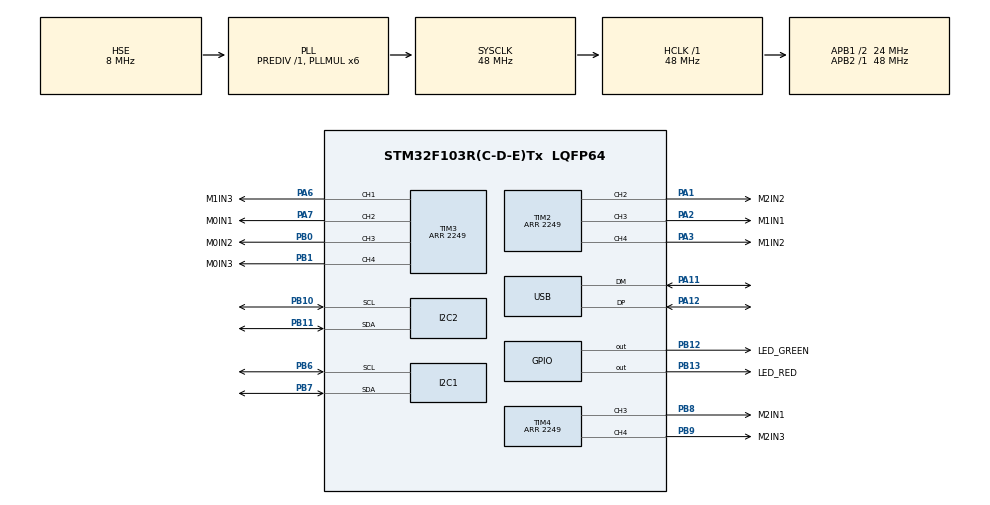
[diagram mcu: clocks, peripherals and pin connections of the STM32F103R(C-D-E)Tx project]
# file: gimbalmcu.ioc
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Mcu.Family=STM32F1
Mcu.Name=STM32F103R(C-D-E)Tx
Mcu.Package=LQFP64
NVIC.PriorityGroup=NVIC_PRIORITYGROUP_4
NVIC.USB_LP_CAN1_RX0_IRQn=true\:0\:0\:false\:false\:true\:false\:true
PA1.GPIO_Label=M2IN2
PA1.Signal=S_TIM2_CH2
PA11.Mode=Device
PA11.Signal=USB_DM
PA12.Mode=Device
PA12.Signal=USB_DP
PA13.Mode=Serial_Wire
PA13.Signal=SYS_JTMS-SWDIO
PA14.Mode=Serial_Wire
PA14.Signal=SYS_JTCK-SWCLK
PA2.GPIO_Label=M1IN1
PA2.Signal=S_TIM2_CH3
PA3.GPIO_Label=M1IN2
PA3.Signal=S_TIM2_CH4
PA6.GPIO_Label=M1IN3
PA6.Signal=S_TIM3_CH1
PA7.GPIO_Label=M0IN1
PA7.Signal=S_TIM3_CH2
PB0.GPIO_Label=M0IN2
PB0.Signal=S_TIM3_CH3
PB1.GPIO_Label=M0IN3
PB1.Signal=S_TIM3_CH4
PB10.Mode=I2C
PB10.Signal=I2C2_SCL
PB11.Mode=I2C
PB11.Signal=I2C2_SDA
PB12.GPIO_Label=LED_GREEN
PB12.Signal=GPIO_Output
PB13.GPIO_Label=LED_RED
PB13.Signal=GPIO_Output
PB6.Mode=I2C
PB6.Signal=I2C1_SCL
PB7.Mode=I2C
PB7.Signal=I2C1_SDA
PB8.GPIO_Label=M2IN1
PB8.Signal=S_TIM4_CH3
PB9.GPIO_Label=M2IN3
PB9.Signal=S_TIM4_CH4
PD0-OSC_IN.Mode=HSE-External-Oscillator
PD0-OSC_IN.Signal=RCC_OSC_IN
PD1-OSC_OUT.Mode=HSE-External-Oscillator
PD1-OSC_OUT.Signal=RCC_OSC_OUT
ProjectManager.HeapSize=0x200
ProjectManager.StackSize=0x400
ProjectManager.TargetToolchain=STM32CubeIDE
RCC.AHBFreq_Value=48000000
RCC.APB1CLKDivider=RCC_HCLK_DIV2
RCC.APB1Freq_Value=24000000
RCC.APB1TimFreq_Value=48000000
RCC.APB2Freq_Value=48000000
RCC.APB2TimFreq_Value=48000000
RCC.HCLKFreq_Value=48000000
RCC.PLLMUL=RCC_PLL_MUL6
RCC.PLLSourceVirtual=RCC_PLLSOURCE_HSE
RCC.SYSCLKFreq_VALUE=48000000
RCC.SYSCLKSource=RCC_SYSCLKSOURCE_PLLCLK
RCC.USBFreq_Value=48000000
SH.S_TIM2_CH2.0=TIM2_CH2,PWM Generation2 CH2
SH.S_TIM2_CH3.0=TIM2_CH3,PWM Generation3 CH3
SH.S_TIM2_CH4.0=TIM2_CH4,PWM Generation4 CH4
SH.S_TIM3_CH1.0=TIM3_CH1,PWM Generation1 CH1
SH.S_TIM3_CH2.0=TIM3_CH2,PWM Generation2 CH2
SH.S_TIM3_CH3.0=TIM3_CH3,PWM Generation3 CH3
SH.S_TIM3_CH4.0=TIM3_CH4,PWM Generation4 CH4
SH.S_TIM4_CH3.0=TIM4_CH3,PWM Generation3 CH3
SH.S_TIM4_CH4.0=TIM4_CH4,PWM Generation4 CH4
TIM2.AutoReloadPreload=TIM_AUTORELOAD_PRELOAD_ENABLE
TIM2.Channel-PWM\ Generation2\ CH2=TIM_CHANNEL_2
TIM2.Channel-PWM\ Generation3\ CH3=TIM_CHANNEL_3
TIM2.Channel-PWM\ Generation4\ CH4=TIM_CHANNEL_4
TIM2.Period=2249
TIM3.AutoReloadPreload=TIM_AUTORELOAD_PRELOAD_ENABLE
TIM3.Channel-PWM\ Generation1\ CH1=TIM_CHANNEL_1
TIM3.Channel-PWM\ Generation2\ CH2=TIM_CHANNEL_2
TIM3.Channel-PWM\ Generation3\ CH3=TIM_CHANNEL_3
TIM3.Channel-PWM\ Generation4\ CH4=TIM_CHANNEL_4
TIM3.Period=2249
TIM4.AutoReloadPreload=TIM_AUTORELOAD_PRELOAD_ENABLE
TIM4.Channel-PWM\ Generation3\ CH3=TIM_CHANNEL_3
TIM4.Channel-PWM\ Generation4\ CH4=TIM_CHANNEL_4
TIM4.Period=2249
USB_DEVICE.CLASS_NAME_FS=CDC
USB_DEVICE.VirtualMode=Cdc
USB_DEVICE.VirtualModeFS=Cdc_FS
VP_USB_DEVICE_VS_USB_DEVICE_CDC_FS.Mode=CDC_FS
board=custom

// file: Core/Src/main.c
/* USER CODE BEGIN Header */
/**
  ******************************************************************************
  * @file           : main.c
  * @brief          : Main program body
  ******************************************************************************
  * @attention
  *
  * <h2><center>&copy; Copyright (c) 2020 STMicroelectronics.
  * All rights reserved.</center></h2>
  *
  * This software component is licensed by ST under BSD 3-Clause license,
  * the "License"; You may not use this file except in compliance with the
  * License. You may obtain a copy of the License at:
  *                        opensource.org/licenses/BSD-3-Clause
  *
  ******************************************************************************
  */
/* USER CODE END Header */
#include "main.h"
#include "usb_device.h"

/* USER CODE BEGIN Includes */
#include "math.h"
/* USER CODE END Includes */

/* USER CODE BEGIN PD */

//#define TELEMETRY
/*Number of pole-pairs*/
//#define PID  //define PID if integrator is used
#define P 7
#define kMax 720

#define ADDRESS  0xD0
#define ADDRESS2 0xD2
#define G        9.81f

#define TS       0.001

#define P1       40.3
#define I1       200.0
#define D1       3.8
#define SAT1     1400

#define P2       65.6154
#define I2       1.7477
#define D2       1.0642
#define SAT2     2100
#define N2       10.0
#define TI2      (P2 / I2)
#define TD2      (D2 / P2)
#define TDV2     (TD2 / N2)

#define P3       33.3
#define I3       1.1
#define D3       0.05
#define SAT3     1700
#define N3       10.0
#define TI3      (P3 / I3)
#define TD3      (D3 / P3)
#define TDV3     (TD3 / N3)
/* USER CODE END PD */

I2C_HandleTypeDef hi2c1;
I2C_HandleTypeDef hi2c2;

TIM_HandleTypeDef htim2;
TIM_HandleTypeDef htim3;
TIM_HandleTypeDef htim4;

void SystemClock_Config(void);
static void MX_GPIO_Init(void);
static void MX_TIM2_Init(void);
static void MX_TIM3_Init(void);
static void MX_TIM4_Init(void);
static void MX_I2C2_Init(void);
static void MX_I2C1_Init(void);

/* USER CODE BEGIN 0 */
double qsine[] = {0,20,39,59,78,98,118,137,157,176,196,216,235,255,274,294,313,332,352,371,
		391,410,429,448,468,487,506,525,544,563,582,601,620,639,658,676,695,714,732,751,769,788,
		806,824,842,861,879,897,915,933,950,968,986,1003,1021,1038,1056,1073,1090,1107,1124,1141,
		1158,1175,1192,1208,1225,1241,1258,1274,1290,1306,1322,1338,1353,1369,1385,1400,1415,1431,
		1446,1461,1475,1490,1505,1519,1534,1548,1562,1576,1590,1604,1618,1631,1645,1658,1671,1684,
		1697,1710,1723,1735,1748,1760,1772,1784,1796,1808,1819,1831,1842,1853,1865,1875,1886,1897,
		1907,1918,1928,1938,1948,1957,1967,1976,1986,1995,2004,2013,2021,2030,2038,2047,2055,2062,
		2070,2078,2085,2093,2100,2107,2113,2120,2126,2133,2139,2145,2151,2156,2162,2167,2172,2177,
		2182,2187,2191,2196,2200,2204,2208,2211,2215,2218,2221,2224,2227,2230,2232,2235,2237,2239,
		2240,2242,2244,2245,2246,2247,2248,2248,2249,2249,2249,2249,2249,2248,2248,2247,2246,2245,
		2244,2242,2240,2239,2237,2235,2232,2230,2227,2224,2221,2218,2215,2211,2208,2204,2200,2196,
		2191,2187,2182,2177,2172,2167,2162,2156,2151,2145,2139,2133,2126,2120,2113,2107,2100,2093,
		2085,2078,2070,2062,2055,2047,2038,2030,2021,2013,2004,1995,1986,1976,1967,1957,1948,1938,
		1928,1918,1907,1897,1886,1875,1865,1853,1842,1831,1819,1808,1796,1784,1772,1760,1748,1735,
		1723,1710,1697,1684,1671,1658,1645,1631,1618,1604,1590,1576,1562,1548,1534,1519,1505,1490,
		1475,1461,1446,1431,1415,1400,1385,1369,1353,1338,1322,1306,1290,1274,1258,1241,1225,1208,
		1192,1175,1158,1141,1124,1107,1090,1073,1056,1038,1021,1003,986,968,950,933,915,897,879,861,
		842,824,806,788,769,751,732,714,695,676,658,639,620,601,582,563,544,525,506,487,468,448,429,
		410,391,371,352,332,313,294,274,255,235,216,196,176,157,137,118,98,78,59,39,20,0,-20,-39,-59,
		-78,-98,-118,-137,-157,-176,-196,-216,-235,-255,-274,-294,-313,-332,-352,-371,-391,-410,-429,
		-448,-468,-487,-506,-525,-544,-563,-582,-601,-620,-639,-658,-676,-695,-714,-732,-751,-769,-788,
		-806,-824,-842,-861,-879,-897,-915,-933,-950,-968,-986,-1003,-1021,-1038,-1056,-1073,-1090,-1107,
		-1124,-1141,-1158,-1175,-1192,-1208,-1225,-1241,-1258,-1274,-1290,-1306,-1322,-1338,-1353,-1369,
		-1385,-1400,-1415,-1431,-1446,-1461,-1475,-1490,-1505,-1519,-1534,-1548,-1562,-1576,-1590,-1604,
		-1618,-1631,-1645,-1658,-1671,-1684,-1697,-1710,-1723,-1735,-1748,-1760,-1772,-1784,-1796,-1808,
		-1819,-1831,-1842,-1853,-1865,-1875,-1886,-1897,-1907,-1918,-1928,-1938,-1948,-1957,-1967,-1976,
		-1986,-1995,-2004,-2013,-2021,-2030,-2038,-2047,-2055,-2062,-2070,-2078,-2085,-2093,-2100,-2107,
		-2113,-2120,-2126,-2133,-2139,-2145,-2151,-2156,-2162,-2167,-2172,-2177,-2182,-2187,-2191,-2196,
		-2200,-2204,-2208,-2211,-2215,-2218,-2221,-2224,-2227,-2230,-2232,-2235,-2237,-2239,-2240,-2242,
		-2244,-2245,-2246,-2247,-2248,-2248,-2249,-2249,-2249,-2249,-2249,-2248,-2248,-2247,-2246,-2245,
		-2244,-2242,-2240,-2239,-2237,-2235,-2232,-2230,-2227,-2224,-2221,-2218,-2215,-2211,-2208,-2204,
		-2200,-2196,-2191,-2187,-2182,-2177,-2172,-2167,-2162,-2156,-2151,-2145,-2139,-2133,-2126,-2120,
		-2113,-2107,-2100,-2093,-2085,-2078,-2070,-2062,-2055,-2047,-2038,-2030,-2021,-2013,-2004,-1995,
		-1986,-1976,-1967,-1957,-1948,-1938,-1928,-1918,-1907,-1897,-1886,-1875,-1865,-1853,-1842,-1831,
		-1819,-1808,-1796,-1784,-1772,-1760,-1748,-1735,-1723,-1710,-1697,-1684,-1671,-1658,-1645,-1631,
		-1618,-1604,-1590,-1576,-1562,-1548,-1534,-1519,-1505,-1490,-1475,-1461,-1446,-1431,-1415,-1400,
		-1385,-1369,-1353,-1338,-1322,-1306,-1290,-1274,-1258,-1241,-1225,-1208,-1192,-1175,-1158,-1141,
		-1125,-1107,-1090,-1073,-1056,-1038,-1021,-1003,-986,-968,-950,-933,-915,-897,-879,-861,-842,-824,
		-806,-788,-769,-751,-732,-714,-695,-676,-658,-639,-620,-601,-582,-563,-544,-525,-506,-487,-468,-448,
		-429,-410,-391,-371,-352,-332,-313,-294,-274,-255,-235,-216,-196,-176,-157,-137,-118,-98,-78,-59,-39,-20};

double sinVal(double a)
{
	double an = fmod(-1 * a, 2 * M_PI) * 360 / M_PI;
	double ap = fmod(a, 2 * M_PI) * 360 / M_PI;
	double s1 = qsine[(uint32_t)(an)];
	double s2 = qsine[(uint32_t)(ap)];
	return ((a < 0 ? -1 *  s1 : s2) / 2249) * 2249/12;//1499 / 8;
}

/* USER CODE END 0 */

int main(void)
{

  /* MCU Configuration--------------------------------------------------------*/

  /* Reset of all peripherals, Initializes the Flash interface and the Systick. */
  HAL_Init();

  /* Configure the system clock */
  SystemClock_Config();

  /* Initialize all configured peripherals */
  MX_GPIO_Init();
  MX_TIM2_Init();
  MX_TIM3_Init();
  MX_TIM4_Init();
  MX_I2C2_Init();
  MX_I2C1_Init();
  MX_USB_DEVICE_Init();
  /* USER CODE BEGIN 2 */
  uint8_t check = 0u;
  uint8_t data=0;
  uint8_t buf[20];

  /* USER CODE END 2 */

  /* Infinite loop */
  /* USER CODE BEGIN WHILE */

  /*-------------Initialize camera gyro---------------*/
  HAL_Delay(100);
  if(HAL_OK == HAL_I2C_IsDeviceReady(&hi2c2,ADDRESS,1 ,100) )
  {
	  HAL_GPIO_WritePin(LED_RED_GPIO_Port, LED_RED_Pin, GPIO_PIN_SET);
  }
  HAL_I2C_Mem_Read(&hi2c2, ADDRESS,0x75,1, &check, 1, 1000);
  HAL_Delay(200);
  HAL_GPIO_WritePin(LED_RED_GPIO_Port, LED_RED_Pin, GPIO_PIN_RESET);

  HAL_Delay(200);
  if(0x68 == check)
  {
	  HAL_GPIO_WritePin(LED_RED_GPIO_Port, LED_RED_Pin, GPIO_PIN_SET);
  }
  /*Reset sensor*/
  data = 0x00;
  HAL_I2C_Mem_Write(&hi2c2, ADDRESS, 0x6B, 1,&data, 1, 1000);
  /*Wake up sensor*/
  data = 0x00;
  HAL_I2C_Mem_Write(&hi2c2, ADDRESS, 0x00, 1,&data, 1, 1000);
  /*Set DATA RATE of 1KHz by writing SMPLRT_DIV register*/
  data = 0x07;
  HAL_I2C_Mem_Write(&hi2c2, ADDRESS, 0x19, 1, &data, 1, 1000);

  /*Configure gyro (+-250 degrees/s) and accelerometer*/
  data = 0x10;
  HAL_I2C_Mem_Write(&hi2c2, ADDRESS, 0x1B, 1, &data, 1, 1000);
  data = 0x08;
  HAL_I2C_Mem_Write(&hi2c2, ADDRESS, 0x1C, 1, &data, 1, 1000);
 /*-----------------------------------------------------------------*/

  /*-------------Initialize mount gyro---------------*/
  HAL_Delay(100);
  if(HAL_OK == HAL_I2C_IsDeviceReady(&hi2c1,ADDRESS2,1 ,100) )
  {
	  HAL_GPIO_WritePin(LED_GREEN_GPIO_Port, LED_GREEN_Pin, GPIO_PIN_SET);
  }

  HAL_I2C_Mem_Read(&hi2c1, ADDRESS2,0x75,1, &check, 1, 1000);
  HAL_Delay(200);
  //HAL_GPIO_WritePin(LED_GREEN_GPIO_Port, LED_GREEN_Pin, GPIO_PIN_RESET);

  HAL_Delay(200);
  if(0x68 == check)
  {
	 // HAL_GPIO_WritePin(LED_GREEN_GPIO_Port, LED_GREEN_Pin, GPIO_PIN_SET);
  }
  /*Reset sensor*/
  data = 0x00;
  HAL_I2C_Mem_Write(&hi2c1, ADDRESS2, 0x6B, 1,&data, 1, 1000);
  /*Wake up sensor*/
  data = 0x00;
  HAL_I2C_Mem_Write(&hi2c1, ADDRESS2, 0x00, 1,&data, 1, 1000);
  /*Set DATA RATE of 1KHz by writing SMPLRT_DIV register*/
  data = 0x07;
  HAL_I2C_Mem_Write(&hi2c1, ADDRESS2, 0x19, 1, &data, 1, 1000);

  /*Configure gyro (+-250 degrees/s) and accelerometer*/
  data = 0x10;
  HAL_I2C_Mem_Write(&hi2c1, ADDRESS2, 0x1B, 1, &data, 1, 1000);
  data = 0x08;
  HAL_I2C_Mem_Write(&hi2c1, ADDRESS2, 0x1C, 1, &data, 1, 1000);
 /*-----------------------------------------------------------------*/

  /*-----------------Initialize motors-------------------------*/
  /*Start YAW*/
  HAL_TIM_PWM_Start(&htim4, TIM_CHANNEL_3);
  HAL_TIM_PWM_Start(&htim2, TIM_CHANNEL_2);
  HAL_TIM_PWM_Start(&htim4, TIM_CHANNEL_4);

  /*Start YAW*/
  HAL_TIM_PWM_Start(&htim2, TIM_CHANNEL_3);
  HAL_TIM_PWM_Start(&htim2, TIM_CHANNEL_4);
  HAL_TIM_PWM_Start(&htim3, TIM_CHANNEL_1);

  /*Start PITCH*/
  HAL_TIM_PWM_Start(&htim3, TIM_CHANNEL_2);
  HAL_TIM_PWM_Start(&htim3, TIM_CHANNEL_3);
  HAL_TIM_PWM_Start(&htim3, TIM_CHANNEL_4);

  /*Pull YAW rotor to  a init position*/
  TIM4->CCR3 = 1450;
  TIM2->CCR2 = 0u;
  TIM4->CCR4 = 0u;

  /*Pull ROLL rotor to  a init position*/
  TIM2->CCR3 = 1450;
  TIM2->CCR4 = 0u;
  TIM3->CCR1 = 0u;

  /*Pull PITCH rotor to  a init position*/
  TIM3->CCR2 = 1450;
  TIM3->CCR3 = 0u;
  TIM3->CCR4 = 0u;
  /*------------------------------------------------------------*/

  /*---------------Initialize variables---------------*/
  double dt = 1;
  double a, b, c;
  double fia, fib, fic;
  uint8_t values[6];
  int16_t Accel_X_RAW = 0;
  int16_t Accel_Y_RAW = 0;
  int16_t Accel_Z_RAW = 0;
  int16_t Gyro_X_RAW = 0;
  int16_t Gyro_Y_RAW = 0;
  int16_t Gyro_Z_RAW = 0;

  double Ax = 0.0f;
  double Ay = 0.0f;
  double ax = 0.0f;
  double ay = 0.0f;
  double az = 0.0f;

  double Gx = 0.0f;
  double Gy = 0.0f;
  double Gz = 0.0f;
  double gx = 0.0f;
  double gy = 0.0f;
  double gz = 0.0f;
  double fid = 0.0;
  double thetad = 0.0;
  double pszid = 0.0;
  double fi = 0.0;
  double theta = 0.0;
  double pszi = 0.0;

  double fiz = 0.0;

  double figx = 0.0;
  double figy = 0.0;

  double fi0, theta0, pszi0;

  /*----------PID PITCH vars---------*/
  double ik2, ik12, ek2, ek12, dk2, dk12, uk2;
  ik2 = ik12 = ek2 = ek12 = dk2 = dk12 = uk2 = 0.0;
  uint8_t sat2 = 0u;
  /*--------------*/

  /*----------PID ROLL vars---------*/
  double ik3, ik13, ek3, ek13, dk3, dk13, uk3;
  ik3 = ik13 = ek3 = ek13 = dk3 = dk13 = uk3 = 0.0;
  uint8_t sat3 = 0u;
  /*--------------*/

  /*------------Gyro mount vars--------------*/
  uint8_t values2[6];
  int16_t Accel_X_RAW2, Accel_Y_RAW2, Accel_Z_RAW2;
  int16_t Gyro_X_RAW2, Gyro_Y_RAW2, Gyro_Z_RAW2;
  double Ax2, Ay2, ax2, ay2, az2;
  double Gx2, Gy2, Gz2, gx2, gy2, gz2;
  double fid2, thetad2, pszid2, fi2, theta2, pszi2;
  double figx2, figy2;
  double fi20, theta20, pszi20;

  double firef0, thetaref0, psziref0;

  memset(buf, '\0',20);
  sprintf (buf, "X");
  data = '\n';
  uint8_t kezdo = 'X';

  double firef, thetaref, psziref;
  firef = psziref = thetaref = 0;
  uint8_t init = 1;
  double efi, etheta, epszi;
  efi = etheta = epszi = 0;
  double m1;

  uint16_t init2 = 200u;
  uint64_t iter = 0u;

  //motor angles
  double fim, thetam, pszim;

  HAL_Delay(2000);

  /*Registers for measuring time*/
  DWT->CTRL |= 1 ; // enable the counter

  CoreDebug->DEMCR |=  CoreDebug_DEMCR_TRCENA_Msk;
  DWT->CTRL |=  DWT_CTRL_CYCCNTENA_Msk;
  DWT->CYCCNT = 0;

  while (1)
  {
	  /*Reading accelerometer registers*/
	  HAL_I2C_Mem_Read (&hi2c2,ADDRESS, 0x3B, 1, values, 6, 1000);
	  Accel_X_RAW = (int16_t)(values[0] << 8 | values [1]);
	  Accel_Y_RAW = (int16_t)(values[2] << 8 | values [3]);
	  Accel_Z_RAW = (int16_t)(values[4] << 8 | values [5]);

	  	  	  /*Read gyro registers*/
	  HAL_I2C_Mem_Read (&hi2c2, ADDRESS, 0x43, 1, values, 6, 1000);
	  Gyro_X_RAW = (int16_t)(values[0] << 8 | values [1]);
	  Gyro_Y_RAW = (int16_t)(values[2] << 8 | values [3]);
	  Gyro_Z_RAW = (int16_t)(values[4] << 8 | values [5]);

	  /*Reading mount accelerometer registers*/
	  HAL_I2C_Mem_Read (&hi2c1,ADDRESS2, 0x3B, 1, values2, 6, 1000);
	  Accel_X_RAW2 = (int16_t)(values2[0] << 8 | values2 [1]);
	  Accel_Y_RAW2 = (int16_t)(values2[2] << 8 | values2 [3]);
	  Accel_Z_RAW2 = (int16_t)(values2[4] << 8 | values2 [5]);

	  	  	  /*Read mount gyro registers*/
	  HAL_I2C_Mem_Read (&hi2c1, ADDRESS2, 0x43, 1, values2, 6, 1000);
	  Gyro_X_RAW2 = (int16_t)(values2[0] << 8 | values2 [1]);
	  Gyro_Y_RAW2 = (int16_t)(values2[2] << 8 | values2 [3]);
	  Gyro_Z_RAW2 = (int16_t)(values2[4] << 8 | values2 [5]);

	  /*Calculate elapsed time*/
	  dt = (((double)DWT->CYCCNT) / HAL_RCC_GetHCLKFreq());
	  DWT->CYCCNT = 0;
	  	  	  /*Get the acceleration values*/
	  ax = G*Accel_X_RAW / 8192.0;
	  ay = -1 * (G*Accel_Y_RAW / 8192.0);
	  az = -G*Accel_Z_RAW / 8192.0;
	  	  	  /*Get angular velocity values*/
	  gx = Gyro_X_RAW / 32.8;
	  gy = -1 * (Gyro_Y_RAW / 32.8);
	  gz = -Gyro_Z_RAW / 32.8;
	  	  	  /*Normalize values*/
	  ax = ax / G;
	  ay = ay / G;
	  az = az / G;

	  Ax = (atan(ay / az)-0.01);
	  Ay = (atan(-ax / (sqrt(pow(ay,2) + pow(az,2)))) - 0.027576);
	  Gx = (gx - 0.50491+0.06) * M_PI / 180.0;
	  Gy = (gy + 1.5-0.025) * M_PI / 180.0;
	  Gz = (gz + 0.024518) * M_PI / 180.0;

	  	  /*Get the mount acceleration values*/
      ay2 = -G*Accel_X_RAW2 / 8192.0;
      ax2 = 1 * (G*Accel_Y_RAW2 / 8192.0);
      az2 = G*Accel_Z_RAW2 / 8192.0;
	  	  /*Get mount angular velocity values*/
      gy2 = -Gyro_X_RAW2 / 32.8;
      gx2 = (Gyro_Y_RAW2 / 32.8);
      gz2 = Gyro_Z_RAW2 / 32.8;
	  	  /*Normalize values*/
      ax2 = ax2 / G;
      ay2 = ay2 / G;
      az2 = az2 / G;

      Ax2 = (atan(ay2 / az2)-0.01);
      Ay2 = (atan(-ax2 / (sqrt(pow(ay2,2) + pow(az2,2)))) - 0.027576);
      Gx2 = (gx2 - 1.1649) * M_PI / 180.0;
      Gy2 = (gy2 - 5.47) * M_PI / 180.0;
      Gz2 = (gz2 - 1.975482) * M_PI / 180.0;

	  if(1u == init)
	  {
		  init = 0;

		  figx = Ax;
		  figy = Ay;

		  fi = Ax;
		  theta = Ay;
		  fiz = 0;

		  dt = 0;

		  fi0 = Ax;
		  theta0 = Ay;
		  pszi0 = 0;

		  firef = fi0;
		  thetaref = theta0;
		  psziref = 0;

		  /*mount IMU*/
		  figx2 = Ax2;
		  figy2 = Ay2;

		  fi2 = Ax2;
		  theta2 = Ay2;
		  pszi2 = 0;

		  fi20 = Ax2;
		  theta20 = Ay2;
		  pszi20 = 0;
	  }
	  if(init2 != 0u)
	  {
		  firef -= fi0 / 200.0;
		  thetaref -= theta0 / 200.0;
		  init2--;
	  }
	  else
	  {
		  firef = 0;
		  thetaref = 0;
	  }

	  fid = Gx + Gy * sin(fi) * tan(theta) + Gz * cos(fi) * tan(theta);
	  thetad = Gy * cos(fi) - Gz * sin(fi);
	  pszid = (Gy * sin(fi) / cos(theta)) + Gz * cos(fi) / cos(theta);

	  figx = figx + fid * dt + dt * 0.16 * M_PI / 180;
	  figy = figy + thetad * dt - dt * 0.03 * M_PI / 180;
	  fiz = fiz + pszid * dt;
	  /*Calculate angle values*/
	  /*Pitch*/
	  fi = 0.94 * figx + 0.06 * Ax;
	  /*Roll*/
	  theta = 0.94 * figy + 0.06 * Ay;
	  /*Yaw*/
	  pszi = fiz;

	  /*mount IMU*/
	  fid2 = Gx2 + Gy2 * sin(fi2) * tan(theta2) + Gz2 * cos(fi2) * tan(theta2);
	  thetad2 = Gy2 * cos(fi2) - Gz2 * sin(fi2);
	  pszid2 = (Gy2 * sin(fi2) / cos(theta2)) + Gz2 * cos(fi2) / cos(theta2);

	  figx2 = figx2 + fid2 * dt + dt * 0.07 * M_PI / 180;
	  figy2 = figy2 + thetad2 * dt + dt * 0.03 * M_PI / 180;
	  /*Calculate angle values*/
	  /*Pitch*/
	  fi2 = 0.94 * figx2 + 0.06 * Ax2;
	  /*Roll*/
	  theta2 = 0.94 * figy2 + 0.06 * Ay2;
	  /*Yaw*/
	  pszi2 += pszid2 * dt;

	  /*Motor mechanical angles with respect to phase a*/
	  fim = fi - fi0 - fi2 + fi20;
	  thetam = theta - theta0 - theta2 + theta20;
	  pszim = pszi - pszi2;

	  /*Pull YAW rotor to  a init position*/
	  fia = pszim * P;
	  fib = pszim * P - (2 * M_PI / 3);
	  fic = pszim * P - (4 * M_PI / 3);

	  epszi = psziref - pszi;
	  a = P1 * epszi * (-1 * sinVal(fia) / 1.0);
	  b = P1 * epszi * (-1 * sinVal(fib) / 1.0);
	  c = P1 * epszi * (-1 * sinVal(fic) / 1.0);
	  m1 = fmax(fabs(a), fmax(fabs(b),fabs(c)));
	  if(m1 > SAT1)
	  {
		  m1 = SAT1 / m1;
		  a = m1 * a;
		  b = m1 * b;
		  c = m1 * c;
	  }
	 // TIM4->CCR3 = a > 0 ? (uint32_t)a : 0;
	  //TIM2->CCR2 = b > 0 ? (uint32_t)b : 0;
	 // TIM4->CCR4 = c > 0 ? (uint32_t)c : 0;
	  /*-----------------------------------*/

	  /*-----------PITCH-----------*/
	  fia = thetam * P;
	  fib = thetam * P - (2 * M_PI / 3);
	  fic = thetam * P - (4 * M_PI / 3);

	  etheta = thetaref - theta;
	  ek2 = etheta;
	  dk2 = (1 / (TS + TDV2)) * (TD2 * ek2 - TD2 * ek12 + TDV2 * dk12);
	  dk12 = dk2;
	  if(!sat2)
	  {
		  ik2 = (TS / TI2) * ek2 + ik12;
		  ik12 = ik2;
	  }
#ifdef PID
	  uk2 = ek2 * P2 + P2 * dk2 + P2 * ik2 ;

#else
	  uk2 = ek2 * P2 + P2 * dk2;
#endif
	  ek12 = ek2;

	  a = uk2 * (-1 * sinVal(fia) / 1.0);
	  b = uk2 * (-1 * sinVal(fib) / 1.0);
	  c = uk2 * (-1 * sinVal(fic) / 1.0);
	  m1 = fmax(fabs(a), fmax(fabs(b),fabs(c)));
	  if(m1 > SAT2)
	  {
		  m1 = SAT2 / m1;
		  a = m1 * a;
		  b = m1 * b;
		  c = m1 * c;
		  sat2 = 1u;
	  }
	  else
	  {
		  sat2 = 0u;
	  }

	  TIM2->CCR3 = a > 0 ? (uint32_t)a : 0;
	  TIM2->CCR4 = b > 0 ? (uint32_t)b : 0;
	  TIM3->CCR1 = c > 0 ? (uint32_t)c : 0;
	  /*-------------------------------------*/

	  /*----------ROLL-------*/
	  fia = fim * P;
	  fib = fim * P - (2 * M_PI / 3);
	  fic = fim * P - (4 * M_PI / 3);

	  efi = firef - fi;

	  ek3 = efi;
	  dk3 = (1 / (TS + TDV3)) * (TD3 * ek3 - TD3 * ek13 + TDV3 * dk13);
	  dk13 = dk3;
	  if(!sat3)
	  {
		  ik3 = (TS / TI3) * ek3 + ik13;
		  ik13 = ik3;
	  }
#ifdef PID
	  uk3 = ek3 * P3 + P3 * dk3 + P3 * ik3 ;
#else
	  uk3 = ek3 * P3 + P3 * dk3;
#endif
	  ek13 = ek3;

	  a = uk3 * (-1 * sinVal(fia) / 1.0);
	  b = uk3 * (-1 * sinVal(fib) / 1.0);
	  c = uk3 * (-1 * sinVal(fic) / 1.0);
	  m1 = fmax(fabs(a), fmax(fabs(b),fabs(c)));
	  if(m1 > SAT3)
	  {
		  m1 = SAT3 / m1;
		  a = m1 * a;
		  b = m1 * b;
		  c = m1 * c;
		  sat3 = 1u;
	  }
	  else{
		  sat3 = 0u;
	  }
	  TIM3->CCR2 = a > 0 ? (uint32_t)a : 0;
	  TIM3->CCR3 = b > 0 ? (uint32_t)b : 0;
	  TIM3->CCR4 = c > 0 ? (uint32_t)c : 0;
	  /*---------------------*/

#ifdef TELEMETRY
	  if(iter++ % 6 == 0)
	  {

		  CDC_Transmit_FS(&kezdo, sizeof(kezdo));
		  //Convert double to an array of uint8 and then send

		  HAL_Delay(2);

		  CDC_Transmit_FS(((uint8_t*)(&dt)), sizeof(double));
		  HAL_Delay(2);
		  CDC_Transmit_FS(((uint8_t*)(&theta2)), sizeof(double));
		  HAL_Delay(2);
		  CDC_Transmit_FS(((uint8_t*)(&fi)), sizeof(double));
		  HAL_Delay(2);
		  CDC_Transmit_FS(((uint8_t*)(&theta)), sizeof(double));
		  HAL_Delay(2);
		  CDC_Transmit_FS(&data, sizeof(data));
	  }
#endif
  }

  /* USER CODE END 3 */
}

void SystemClock_Config(void)
{
  RCC_OscInitTypeDef RCC_OscInitStruct = {0};
  RCC_ClkInitTypeDef RCC_ClkInitStruct = {0};
  RCC_PeriphCLKInitTypeDef PeriphClkInit = {0};

  /** Initializes the RCC Oscillators according to the specified parameters
  * in the RCC_OscInitTypeDef structure.
  */
  RCC_OscInitStruct.OscillatorType = RCC_OSCILLATORTYPE_HSE;
  RCC_OscInitStruct.HSEState = RCC_HSE_ON;
  RCC_OscInitStruct.HSEPredivValue = RCC_HSE_PREDIV_DIV1;
  RCC_OscInitStruct.HSIState = RCC_HSI_ON;
  RCC_OscInitStruct.PLL.PLLState = RCC_PLL_ON;
  RCC_OscInitStruct.PLL.PLLSource = RCC_PLLSOURCE_HSE;
  RCC_OscInitStruct.PLL.PLLMUL = RCC_PLL_MUL6;
  if (HAL_RCC_OscConfig(&RCC_OscInitStruct) != HAL_OK)
  {
    Error_Handler();
  }
  /** Initializes the CPU, AHB and APB buses clocks
  */
  RCC_ClkInitStruct.ClockType = RCC_CLOCKTYPE_HCLK|RCC_CLOCKTYPE_SYSCLK
                              |RCC_CLOCKTYPE_PCLK1|RCC_CLOCKTYPE_PCLK2;
  RCC_ClkInitStruct.SYSCLKSource = RCC_SYSCLKSOURCE_PLLCLK;
  RCC_ClkInitStruct.AHBCLKDivider = RCC_SYSCLK_DIV1;
  RCC_ClkInitStruct.APB1CLKDivider = RCC_HCLK_DIV2;
  RCC_ClkInitStruct.APB2CLKDivider = RCC_HCLK_DIV1;

  if (HAL_RCC_ClockConfig(&RCC_ClkInitStruct, FLASH_LATENCY_1) != HAL_OK)
  {
    Error_Handler();
  }
  PeriphClkInit.PeriphClockSelection = RCC_PERIPHCLK_USB;
  PeriphClkInit.UsbClockSelection = RCC_USBCLKSOURCE_PLL;
  if (HAL_RCCEx_PeriphCLKConfig(&PeriphClkInit) != HAL_OK)
  {
    Error_Handler();
  }
}

static void MX_I2C1_Init(void)
{

  hi2c1.Instance = I2C1;
  hi2c1.Init.ClockSpeed = 100000;
  hi2c1.Init.DutyCycle = I2C_DUTYCYCLE_2;
  hi2c1.Init.OwnAddress1 = 0;
  hi2c1.Init.AddressingMode = I2C_ADDRESSINGMODE_7BIT;
  hi2c1.Init.DualAddressMode = I2C_DUALADDRESS_DISABLE;
  hi2c1.Init.OwnAddress2 = 0;
  hi2c1.Init.GeneralCallMode = I2C_GENERALCALL_DISABLE;
  hi2c1.Init.NoStretchMode = I2C_NOSTRETCH_DISABLE;
  if (HAL_I2C_Init(&hi2c1) != HAL_OK)
  {
    Error_Handler();
  }

}

static void MX_I2C2_Init(void)
{

  hi2c2.Instance = I2C2;
  hi2c2.Init.ClockSpeed = 100000;
  hi2c2.Init.DutyCycle = I2C_DUTYCYCLE_2;
  hi2c2.Init.OwnAddress1 = 0;
  hi2c2.Init.AddressingMode = I2C_ADDRESSINGMODE_7BIT;
  hi2c2.Init.DualAddressMode = I2C_DUALADDRESS_DISABLE;
  hi2c2.Init.OwnAddress2 = 0;
  hi2c2.Init.GeneralCallMode = I2C_GENERALCALL_DISABLE;
  hi2c2.Init.NoStretchMode = I2C_NOSTRETCH_DISABLE;
  if (HAL_I2C_Init(&hi2c2) != HAL_OK)
  {
    Error_Handler();
  }

}

static void MX_TIM2_Init(void)
{

  TIM_MasterConfigTypeDef sMasterConfig = {0};
  TIM_OC_InitTypeDef sConfigOC = {0};

  htim2.Instance = TIM2;
  htim2.Init.Prescaler = 0;
  htim2.Init.CounterMode = TIM_COUNTERMODE_UP;
  htim2.Init.Period = 2249;
  htim2.Init.ClockDivision = TIM_CLOCKDIVISION_DIV1;
  htim2.Init.AutoReloadPreload = TIM_AUTORELOAD_PRELOAD_ENABLE;
  if (HAL_TIM_PWM_Init(&htim2) != HAL_OK)
  {
    Error_Handler();
  }
  sMasterConfig.MasterOutputTrigger = TIM_TRGO_RESET;
  sMasterConfig.MasterSlaveMode = TIM_MASTERSLAVEMODE_DISABLE;
  if (HAL_TIMEx_MasterConfigSynchronization(&htim2, &sMasterConfig) != HAL_OK)
  {
    Error_Handler();
  }
  sConfigOC.OCMode = TIM_OCMODE_PWM1;
  sConfigOC.Pulse = 0;
  sConfigOC.OCPolarity = TIM_OCPOLARITY_HIGH;
  sConfigOC.OCFastMode = TIM_OCFAST_DISABLE;
  if (HAL_TIM_PWM_ConfigChannel(&htim2, &sConfigOC, TIM_CHANNEL_2) != HAL_OK)
  {
    Error_Handler();
  }
  if (HAL_TIM_PWM_ConfigChannel(&htim2, &sConfigOC, TIM_CHANNEL_3) != HAL_OK)
  {
    Error_Handler();
  }
  if (HAL_TIM_PWM_ConfigChannel(&htim2, &sConfigOC, TIM_CHANNEL_4) != HAL_OK)
  {
    Error_Handler();
  }
  HAL_TIM_MspPostInit(&htim2);

}

static void MX_TIM3_Init(void)
{

  TIM_MasterConfigTypeDef sMasterConfig = {0};
  TIM_OC_InitTypeDef sConfigOC = {0};

  htim3.Instance = TIM3;
  htim3.Init.Prescaler = 0;
  htim3.Init.CounterMode = TIM_COUNTERMODE_UP;
  htim3.Init.Period = 2249;
  htim3.Init.ClockDivision = TIM_CLOCKDIVISION_DIV1;
  htim3.Init.AutoReloadPreload = TIM_AUTORELOAD_PRELOAD_ENABLE;
  if (HAL_TIM_PWM_Init(&htim3) != HAL_OK)
  {
    Error_Handler();
  }
  sMasterConfig.MasterOutputTrigger = TIM_TRGO_RESET;
  sMasterConfig.MasterSlaveMode = TIM_MASTERSLAVEMODE_DISABLE;
  if (HAL_TIMEx_MasterConfigSynchronization(&htim3, &sMasterConfig) != HAL_OK)
  {
    Error_Handler();
  }
  sConfigOC.OCMode = TIM_OCMODE_PWM1;
  sConfigOC.Pulse = 0;
  sConfigOC.OCPolarity = TIM_OCPOLARITY_HIGH;
  sConfigOC.OCFastMode = TIM_OCFAST_DISABLE;
  if (HAL_TIM_PWM_ConfigChannel(&htim3, &sConfigOC, TIM_CHANNEL_1) != HAL_OK)
  {
    Error_Handler();
  }
  if (HAL_TIM_PWM_ConfigChannel(&htim3, &sConfigOC, TIM_CHANNEL_2) != HAL_OK)
  {
    Error_Handler();
  }
  if (HAL_TIM_PWM_ConfigChannel(&htim3, &sConfigOC, TIM_CHANNEL_3) != HAL_OK)
  {
    Error_Handler();
  }
  if (HAL_TIM_PWM_ConfigChannel(&htim3, &sConfigOC, TIM_CHANNEL_4) != HAL_OK)
  {
    Error_Handler();
  }
  HAL_TIM_MspPostInit(&htim3);

}

static void MX_TIM4_Init(void)
{

  TIM_MasterConfigTypeDef sMasterConfig = {0};
  TIM_OC_InitTypeDef sConfigOC = {0};

  htim4.Instance = TIM4;
  htim4.Init.Prescaler = 0;
  htim4.Init.CounterMode = TIM_COUNTERMODE_UP;
  htim4.Init.Period = 2249;
  htim4.Init.ClockDivision = TIM_CLOCKDIVISION_DIV1;
  htim4.Init.AutoReloadPreload = TIM_AUTORELOAD_PRELOAD_ENABLE;
  if (HAL_TIM_PWM_Init(&htim4) != HAL_OK)
  {
    Error_Handler();
  }
  sMasterConfig.MasterOutputTrigger = TIM_TRGO_RESET;
  sMasterConfig.MasterSlaveMode = TIM_MASTERSLAVEMODE_DISABLE;
  if (HAL_TIMEx_MasterConfigSynchronization(&htim4, &sMasterConfig) != HAL_OK)
  {
    Error_Handler();
  }
  sConfigOC.OCMode = TIM_OCMODE_PWM1;
  sConfigOC.Pulse = 0;
  sConfigOC.OCPolarity = TIM_OCPOLARITY_HIGH;
  sConfigOC.OCFastMode = TIM_OCFAST_DISABLE;
  if (HAL_TIM_PWM_ConfigChannel(&htim4, &sConfigOC, TIM_CHANNEL_3) != HAL_OK)
  {
    Error_Handler();
  }
  if (HAL_TIM_PWM_ConfigChannel(&htim4, &sConfigOC, TIM_CHANNEL_4) != HAL_OK)
  {
    Error_Handler();
  }
  HAL_TIM_MspPostInit(&htim4);

}

static void MX_GPIO_Init(void)
{
  GPIO_InitTypeDef GPIO_InitStruct = {0};

  /* GPIO Ports Clock Enable */
  __HAL_RCC_GPIOD_CLK_ENABLE();
  __HAL_RCC_GPIOA_CLK_ENABLE();
  __HAL_RCC_GPIOB_CLK_ENABLE();

  /*Configure GPIO pin Output Level */
  HAL_GPIO_WritePin(GPIOB, LED_GREEN_Pin|LED_RED_Pin, GPIO_PIN_RESET);

  /*Configure GPIO pins : LED_GREEN_Pin LED_RED_Pin */
  GPIO_InitStruct.Pin = LED_GREEN_Pin|LED_RED_Pin;
  GPIO_InitStruct.Mode = GPIO_MODE_OUTPUT_PP;
  GPIO_InitStruct.Pull = GPIO_NOPULL;
  GPIO_InitStruct.Speed = GPIO_SPEED_FREQ_LOW;
  HAL_GPIO_Init(GPIOB, &GPIO_InitStruct);

}

void Error_Handler(void)
{
}

/************************ (C) COPYRIGHT STMicroelectronics *****END OF FILE****/
